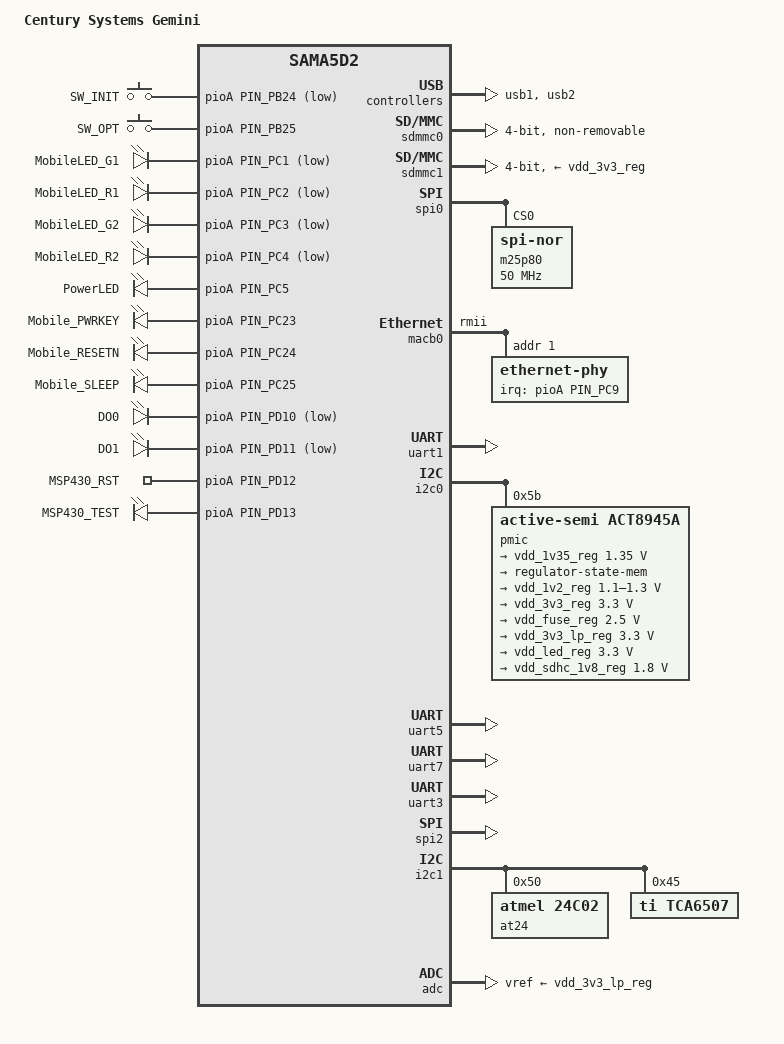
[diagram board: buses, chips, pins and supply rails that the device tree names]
// SPDX-License-Identifier: (GPL-2.0+ OR MIT)
/*
 * at91-centurysys-gemini.dts - Device Tree file for Century Systems Gemini board
 *
 *  Copyright (C) 2015 Atmel,
 *                2015 Nicolas Ferre <nicolas.ferre@atmel.com>
 */
/dts-v1/;
#include "sama5d2.dtsi"
#include "sama5d2-pinfunc.h"
#include <dt-bindings/mfd/atmel-flexcom.h>
#include <dt-bindings/gpio/gpio.h>
#include <dt-bindings/regulator/active-semi,8945a-regulator.h>

/ {
	model = "Century Systems Gemini";
	compatible = "atmel,sama5d2-gemini", "atmel,sama5d2", "atmel,sama5";

	chosen {
		stdout-path = "serial0:115200n8";
	};

	clocks {
		slow_xtal {
			clock-frequency = <32768>;
		};

		main_xtal {
			clock-frequency = <12000000>;
		};
	};

	ahb {
		usb1: ohci@400000 {
			num-ports = <3>;
			atmel,vbus-gpio = <&pioA PIN_PA31 GPIO_ACTIVE_HIGH
					   &pioA PIN_PC15 GPIO_ACTIVE_HIGH
					   0
					  >;
			pinctrl-names = "default";
			pinctrl-0 = <&pinctrl_usb_default>;
			status = "okay";
		};

		usb2: ehci@500000 {
			status = "okay";
		};

		sdmmc0: sdio-host@a0000000 {
			bus-width = <4>;
			pinctrl-names = "default";
			pinctrl-0 = <&pinctrl_sdmmc0_default>;
			non-removable;
			no-sd;
			no-1-8-v;
			status = "okay";
		};

		sdmmc1: sdio-host@b0000000 {
			bus-width = <4>;
			pinctrl-names = "default";
			pinctrl-0 = <&pinctrl_sdmmc1_default>;
			status = "okay"; /* conflict with qspi0 */
			vqmmc-supply = <&vdd_3v3_reg>;
			vmmc-supply = <&vdd_3v3_reg>;
		};

		apb {
			spi0: spi@f8000000 {
				pinctrl-names = "default";
				pinctrl-0 = <&pinctrl_spi0_default>;
				status = "okay";

				m25p80@0 {
					compatible = "jedec,spi-nor";
					reg = <0>;
					spi-max-frequency = <50000000>;
				};
			};

			macb0: ethernet@f8008000 {
				pinctrl-names = "default";
				pinctrl-0 = <&pinctrl_macb0_default &pinctrl_macb0_phy_irq>;
				phy-mode = "rmii";
				status = "okay";

				ethernet-phy@1 {
					reg = <0x1>;
					interrupt-parent = <&pioA>;
					interrupts = <PIN_PC9 IRQ_TYPE_LEVEL_LOW>;
				};
			};

			tcb0: timer@f800c000 {
				timer0: timer@0 {
					compatible = "atmel,tcb-timer";
					reg = <0>;
				};

				timer1: timer@1 {
					compatible = "atmel,tcb-timer";
					reg = <1>;
				};
			};

			/* Debug console */
			uart1: serial@f8020000 {
				pinctrl-names = "default";
				pinctrl-0 = <&pinctrl_uart1_default>;
				atmel,use-dma-rx;
				atmel,use-dma-tx;
				status = "okay";
			};

			i2c0: i2c@f8028000 {
				dmas = <0>, <0>;
				pinctrl-names = "default";
				pinctrl-0 = <&pinctrl_i2c0_default>;
				i2c-sda-hold-time-ns = <350>;
				status = "okay";

				pmic@5b {
					compatible = "active-semi,act8945a";
					reg = <0x5b>;
					active-semi,vsel-high;
					status = "okay";

					regulators {
						vdd_1v35_reg: REG_DCDC1 {
							regulator-name = "VDD_1V35";
							regulator-min-microvolt = <1350000>;
							regulator-max-microvolt = <1350000>;
							regulator-allowed-modes = <ACT8945A_REGULATOR_MODE_FIXED>,
										  <ACT8945A_REGULATOR_MODE_LOWPOWER>;
							regulator-initial-mode = <ACT8945A_REGULATOR_MODE_FIXED>;
							regulator-always-on;

							regulator-state-mem {
								regulator-on-in-suspend;
								regulator-suspend-min-microvolt=<1400000>;
								regulator-suspend-max-microvolt=<1400000>;
								regulator-changeable-in-suspend;
								regulator-mode=<ACT8945A_REGULATOR_MODE_LOWPOWER>;
							};
						};

						vdd_1v2_reg: REG_DCDC2 {
							regulator-name = "VDD_1V2";
							regulator-min-microvolt = <1100000>;
							regulator-max-microvolt = <1300000>;
							regulator-allowed-modes = <ACT8945A_REGULATOR_MODE_FIXED>,
										  <ACT8945A_REGULATOR_MODE_LOWPOWER>;
							regulator-initial-mode = <ACT8945A_REGULATOR_MODE_FIXED>;
							regulator-always-on;

							regulator-state-mem {
								regulator-off-in-suspend;
							};
						};

						vdd_3v3_reg: REG_DCDC3 {
							regulator-name = "VDD_3V3";
							regulator-min-microvolt = <3300000>;
							regulator-max-microvolt = <3300000>;
							regulator-allowed-modes = <ACT8945A_REGULATOR_MODE_FIXED>,
										  <ACT8945A_REGULATOR_MODE_LOWPOWER>;
							regulator-initial-mode = <ACT8945A_REGULATOR_MODE_FIXED>;
							regulator-always-on;

							regulator-state-mem {
								regulator-off-in-suspend;
							};
						};

						vdd_fuse_reg: REG_LDO1 {
							regulator-name = "VDD_FUSE";
							regulator-min-microvolt = <2500000>;
							regulator-max-microvolt = <2500000>;
							regulator-allowed-modes = <ACT8945A_REGULATOR_MODE_NORMAL>,
										  <ACT8945A_REGULATOR_MODE_LOWPOWER>;
							regulator-initial-mode = <ACT8945A_REGULATOR_MODE_NORMAL>;
							regulator-always-on;

							regulator-state-mem {
								regulator-off-in-suspend;
							};
						};

						vdd_3v3_lp_reg: REG_LDO2 {
							regulator-name = "VDD_3V3_LP";
							regulator-min-microvolt = <3300000>;
							regulator-max-microvolt = <3300000>;
							regulator-allowed-modes = <ACT8945A_REGULATOR_MODE_NORMAL>,
										  <ACT8945A_REGULATOR_MODE_LOWPOWER>;
							regulator-initial-mode = <ACT8945A_REGULATOR_MODE_NORMAL>;
							regulator-always-on;

							regulator-state-mem {
								regulator-off-in-suspend;
							};
						};

						vdd_led_reg: REG_LDO3 {
							regulator-name = "VDD_LED";
							regulator-min-microvolt = <3300000>;
							regulator-max-microvolt = <3300000>;
							regulator-allowed-modes = <ACT8945A_REGULATOR_MODE_NORMAL>,
										  <ACT8945A_REGULATOR_MODE_LOWPOWER>;
							regulator-initial-mode = <ACT8945A_REGULATOR_MODE_NORMAL>;
							regulator-always-on;

							regulator-state-mem {
								regulator-off-in-suspend;
							};
						};

						vdd_sdhc_1v8_reg: REG_LDO4 {
							regulator-name = "VDD_SDHC_1V8";
							regulator-min-microvolt = <1800000>;
							regulator-max-microvolt = <1800000>;
							regulator-allowed-modes = <ACT8945A_REGULATOR_MODE_NORMAL>,
										  <ACT8945A_REGULATOR_MODE_LOWPOWER>;
							regulator-initial-mode = <ACT8945A_REGULATOR_MODE_NORMAL>;
							regulator-always-on;

							regulator-state-mem {
								regulator-off-in-suspend;
							};
						};
					};

					charger {
						compatible = "active-semi,act8945a-charger";
						pinctrl-names = "default";
						pinctrl-0 = <&pinctrl_charger_chglev &pinctrl_charger_lbo &pinctrl_charger_irq>;
						interrupt-parent = <&pioA>;
						interrupts = <PIN_PB13 IRQ_TYPE_EDGE_RISING>;

						active-semi,chglev-gpios = <&pioA PIN_PA12 GPIO_ACTIVE_HIGH>;
						active-semi,lbo-gpios = <&pioA PIN_PC8 GPIO_ACTIVE_LOW>;
						active-semi,input-voltage-threshold-microvolt = <6600>;
						active-semi,precondition-timeout = <40>;
						active-semi,total-timeout = <3>;
						status = "okay";
					};
				};
			};

			/* DB9 RS-232C */
			flx0: flexcom@f8034000 {
				atmel,flexcom-mode = <ATMEL_FLEXCOM_MODE_USART>;
				status = "okay";

				uart5: serial@200 {
					compatible = "atmel,at91sam9260-usart";
					reg = <0x200 0x200>;
					interrupts = <19 IRQ_TYPE_LEVEL_HIGH 7>;
					clocks = <&pmc PMC_TYPE_PERIPHERAL 19>;
					clock-names = "usart";
					pinctrl-names = "default";
					pinctrl-0 = <&pinctrl_flx0_default>;
					atmel,fifo-size = <32>;
					dtr-gpios = <&pioA PIN_PC10 GPIO_ACTIVE_LOW>;
					dsr-gpios = <&pioA PIN_PC11 GPIO_ACTIVE_LOW>;
					dcd-gpios = <&pioA PIN_PC12 GPIO_ACTIVE_LOW>;
					rng-gpios = <&pioA PIN_PC13 GPIO_ACTIVE_LOW>;
					status = "okay";
				};
			};

			flx2: flexcom@fc010000 {
				atmel,flexcom-mode = <ATMEL_FLEXCOM_MODE_USART>;
				status = "okay";

				uart7: serial@200 {
					compatible = "atmel,at91sam9260-usart";
					reg = <0x200 0x200>;
					interrupts = <21 IRQ_TYPE_LEVEL_HIGH 7>;
					clocks = <&pmc PMC_TYPE_PERIPHERAL 21>;
					clock-names = "usart";
					pinctrl-names = "default";
					pinctrl-0 = <&pinctrl_flx2_default>;
					atmel,fifo-size = <32>;
					linux,rs485-enabled-at-boot-time;
					dtr-gpios = <&pioA PIN_PD29 GPIO_ACTIVE_LOW>;
					status = "okay";
				};
			};

			shdwc@f8048010 {
				debounce-delay-us = <976>;
				atmel,wakeup-rtc-timer;

				opt_switch@4 {
					reg = <6>;
					atmel,wakeup-type = "low";
				};
			};

			watchdog@f8048040 {
				status = "okay";
			};

			/* MSP430 */
			uart3: serial@fc008000 {
				atmel,use-dma-rx;
				atmel,use-dma-tx;
				pinctrl-names = "default";
				pinctrl-0 = <&pinctrl_uart3_default>;
				status = "okay";
			};

			/* XIO SPI */
			flx4: flexcom@fc018000 {
				atmel,flexcom-mode = <ATMEL_FLEXCOM_MODE_SPI>;

				spi2: spi@600 {
					compatible = "atmel,at91rm9200-spi";
					reg = <0x400 0x200>;
					interrupts = <23 IRQ_TYPE_LEVEL_HIGH 7>;
					dmas = <&dma0
						(AT91_XDMAC_DT_MEM_IF(0) | AT91_XDMAC_DT_PER_IF(1) |
						 AT91_XDMAC_DT_PERID(19))>,
				               <&dma0
						(AT91_XDMAC_DT_MEM_IF(0) | AT91_XDMAC_DT_PER_IF(1) |
						 AT91_XDMAC_DT_PERID(20))>;
					dma-names = "tx", "rx";
					pinctrl-names = "default";
					pinctrl-0 = <&pinctrl_flx4_default>;
					#address-cells = <1>;
					#size-cells = <0>;
					clocks = <&pmc PMC_TYPE_PERIPHERAL 23>;
					clock-names = "spi_clk";
					atmel,fifo-size = <32>;
				};
			};

			i2c1: i2c@fc028000 {
				dmas = <0>, <0>;
				pinctrl-names = "default";
				pinctrl-0 = <&pinctrl_i2c1_default>;
				status = "okay";

				at24@50 {
					compatible = "atmel,24c02";
					reg = <0x50>;
					pagesize = <16>;
				};

				tca6507@45 {
					compatible = "ti,tca6507";
					#address-cells = <1>;
					#size-cells = <0>;
					reg = <0x45>;

					led0: power-status-red@0 {
						label = "power-stat:r";
						reg = <0x0>;
					};

					led1: system-status1-red@1 {
						label = "system-status1:r";
						reg = <0x1>;
						linux,default-trigger = "heartbeat";
					};

					led2: system-status2-red@2 {
						label = "system-status2:r";
						reg = <0x2>;
					};

					led3: system-status3-red@3 {
						label = "system-status3:r";
						reg = <0x3>;
					};

					led4: system-status1-green@4 {
						label = "system-status1:g";
						reg = <0x4>;
						linux,default-trigger = "timer-suspend";
					};

					led5: system-status2-green@5 {
						label = "system-status2:g";
						reg = <0x5>;
					};

					led6: system-status3-green@6 {
						label = "system-status3:g";
						reg = <0x6>;
					};
				};
			};

			adc: adc@fc030000 {
				vddana-supply = <&vdd_3v3_lp_reg>;
				vref-supply = <&vdd_3v3_lp_reg>;
				pinctrl-names = "default";
				pinctrl-0 = <&pinctrl_adc_default &pinctrl_adtrg_default>;
				status = "okay";
			};

			pinctrl@fc038000 {
				/*
				 * There is no real pinmux for ADC, if the pin
				 * is not requested by another peripheral then
				 * the muxing is done when channel is enabled.
				 * Requesting pins for ADC is GPIO is
				 * encouraged to prevent conflicts and to
				 * disable bias in order to be in the same
				 * state when the pin is not muxed to the adc.
				 */
				pinctrl_adc_default: adc_default {
					pinmux = <PIN_PD19__GPIO>;
					bias-disable;
				};

				/*
				 * The ADTRG pin can work on any edge type.
				 * In here it's being pulled up, so need to
				 * connect it to ground to get an edge e.g.
				 * Trigger can be configured on falling, rise
				 * or any edge, and the pull-up can be changed
				 * to pull-down or left floating according to
				 * needs.
				 */
				pinctrl_adtrg_default: adtrg_default {
					pinmux = <PIN_PD31__ADTRG>;
					bias-pull-up;
				};

				pinctrl_charger_chglev: charger_chglev {
					pinmux = <PIN_PA12__GPIO>;
					bias-disable;
				};

				pinctrl_charger_irq: charger_irq {
					pinmux = <PIN_PB13__GPIO>;
					bias-disable;
				};

				pinctrl_charger_lbo: charger_lbo {
					pinmux = <PIN_PC8__GPIO>;
					bias-pull-up;
				};

				pinctrl_flx0_default: flx0_default {
					pinmux = <PIN_PB28__FLEXCOM0_IO0>,
						 <PIN_PB29__FLEXCOM0_IO1>,
						 <PIN_PB31__FLEXCOM0_IO3>,
						 <PIN_PC0__FLEXCOM0_IO4>,
						 <PIN_PC10__GPIO>,
						 <PIN_PC11__GPIO>,
						 <PIN_PC12__GPIO>,
						 <PIN_PC13__GPIO>;
					bias-disable;
				};

				pinctrl_flx2_default: flx2_default {
					pinmux = <PIN_PD26__FLEXCOM2_IO0>,
						 <PIN_PD27__FLEXCOM2_IO1>,
						 <PIN_PD29__GPIO>,
						 <PIN_PD30__FLEXCOM2_IO4>;
					bias-disable;
				};

				pinctrl_flx3_default: flx3_default {
					pinmux = <PIN_PC20__FLEXCOM3_IO0>,
						 <PIN_PC19__FLEXCOM3_IO1>,
						 <PIN_PC18__FLEXCOM3_IO2>,
						 <PIN_PC21__FLEXCOM3_IO3>,
						 <PIN_PC22__FLEXCOM3_IO4>;
					bias-disable;
				};

				pinctrl_flx4_default: flx4_default {
					pinmux = <PIN_PC28__FLEXCOM4_IO0>,
						 <PIN_PC29__FLEXCOM4_IO1>,
						 <PIN_PC30__FLEXCOM4_IO2>,
						 <PIN_PC31__FLEXCOM4_IO3>,
						 <PIN_PD0__FLEXCOM4_IO4>;
					bias-disable;
				};

				pinctrl_i2c0_default: i2c0_default {
					pinmux = <PIN_PD21__TWD0>,
						 <PIN_PD22__TWCK0>;
					bias-disable;
				};

				pinctrl_i2c1_default: i2c1_default {
					pinmux = <PIN_PD4__TWD1>,
						 <PIN_PD5__TWCK1>;
					bias-disable;
				};

				pinctrl_key_gpio_default: key_gpio_default {
					pinmux = <PIN_PB24__GPIO>,
					         <PIN_PB25__GPIO>;
				};

				pinctrl_led_gpio_default: led_gpio_default {
					pinmux = <PIN_PC1__GPIO>,
						 <PIN_PC2__GPIO>,
						 <PIN_PC3__GPIO>,
						 <PIN_PC4__GPIO>,
						 <PIN_PC5__GPIO>,
						 <PIN_PC23__GPIO>,
						 <PIN_PC24__GPIO>,
						 <PIN_PC25__GPIO>;
					bias-pull-up;
				};

				pinctrl_macb0_default: macb0_default {
					pinmux = <PIN_PB14__GTXCK>,
						 <PIN_PB15__GTXEN>,
						 <PIN_PB16__GRXDV>,
						 <PIN_PB17__GRXER>,
						 <PIN_PB18__GRX0>,
						 <PIN_PB19__GRX1>,
						 <PIN_PB20__GTX0>,
						 <PIN_PB21__GTX1>,
						 <PIN_PB22__GMDC>,
						 <PIN_PB23__GMDIO>;
					bias-disable;
				};

				pinctrl_macb0_phy_irq: macb0_phy_irq {
					pinmux = <PIN_PC9__GPIO>;
					bias-disable;
				};

				pinctrl_sdmmc0_default: sdmmc0_default {
					cmd_data {
						pinmux = <PIN_PA1__SDMMC0_CMD>,
							 <PIN_PA2__SDMMC0_DAT0>,
							 <PIN_PA3__SDMMC0_DAT1>,
							 <PIN_PA4__SDMMC0_DAT2>,
							 <PIN_PA5__SDMMC0_DAT3>;
						bias-disable;
					};

					ck_cd_rstn_vddsel {
						pinmux = <PIN_PA0__SDMMC0_CK>,
							 <PIN_PA10__SDMMC0_RSTN>,
							 <PIN_PA13__SDMMC0_CD>;
						bias-disable;
					};
				};

				pinctrl_sdmmc1_default: sdmmc1_default {
					cmd_data {
						pinmux = <PIN_PA28__SDMMC1_CMD>,
							 <PIN_PA18__SDMMC1_DAT0>,
							 <PIN_PA19__SDMMC1_DAT1>,
							 <PIN_PA20__SDMMC1_DAT2>,
							 <PIN_PA21__SDMMC1_DAT3>;
						bias-disable;
					};

					conf-ck_cd {
						pinmux = <PIN_PA22__SDMMC1_CK>,
							 <PIN_PA30__SDMMC1_CD>;
						bias-disable;
					};
				};

				pinctrl_spi0_default: spi0_default {
					pinmux = <PIN_PA14__SPI0_SPCK>,
						 <PIN_PA15__SPI0_MOSI>,
						 <PIN_PA16__SPI0_MISO>,
						 <PIN_PA17__SPI0_NPCS0>;
					bias-disable;
				};

				pinctrl_uart1_default: uart1_default {
					pinmux = <PIN_PD2__URXD1>,
						 <PIN_PD3__UTXD1>;
					bias-disable;
				};

				pinctrl_uart3_default: uart3_default {
					pinmux = <PIN_PB11__URXD3>,
						 <PIN_PB12__UTXD3>;
					bias-disable;
				};

				pinctrl_usb_default: usb_default {
					pinmux = <PIN_PA31__GPIO>,
						 <PIN_PC15__GPIO>;
					bias-disable;
				};

				gpio {
					#address-cells = <1>;
					#size-cells = <0>;

					gpio@pb1 {
						label = "DIPSW0";
						reg = <33>;
					};

					gpio@pb2 {
					label = "DIPSW1";
						reg = <34>;
					};

					gpio@pb3 {
						label = "DIPSW2";
						reg = <35>;
					};

					gpio@pb4 {
						label = "DIPSW3";
						reg = <36>;
					};

					gpio@pc26 {
						label = "Mobile_READY_N";
						reg = <90>;
					};

					gpio@pc27 {
						label = "Mobile_WAKEUP_N";
						reg = <91>;
					};

					gpio@pd6 {
						label = "DI0";
						reg = <102>;
					};

					gpio@pd7 {
						label = "DI1";
						reg = <103>;
					};

					gpio@pd8 {
						label = "DI2";
						reg = <104>;
					};

					gpio@pd9 {
						label = "DI3";
						reg = <105>;
					};
				};
			};

			secumod@fc040000 {
				#address-cells = <1>;
				#size-cells = <0>;

				pio@bu0 {
					label = "BU_DI0";
					reg = <0>;
				};

				pio@bu1 {
					label = "BU_DI1";
					reg = <1>;
				};

				pio@bu2 {
					label = "BU_DI2";
					reg = <2>;
				};

				pio@bu3 {
					label = "BU_DI3";
					reg = <3>;
				};

				pio@bu5 {
					label = "BU_MSP430_IRQ";
					reg = <5>;
				};

				pio@bu6 {
					label = "BU_EXT_RTC_ALARM";
					reg = <6>;
				};

				pio@bu7 {
					label = "BU_XIO_WAKEUP";
					reg = <7>;
				};
			};
		};
	};

	gpio_keys {
		compatible = "gpio-keys";

		pinctrl-names = "default";
		pinctrl-0 = <&pinctrl_key_gpio_default>;

		sw_init {
			label = "SW_INIT";
			gpios = <&pioA PIN_PB24 GPIO_ACTIVE_LOW>;
			linux,code = <0x100>; /* BTN_0 */
			wakeup-source;
		};

		sw_opt {
			label = "SW_OPT";
			gpios = <&pioA PIN_PB25 GPIO_ACTIVE_HIGH>;
			linux,code = <0x101>; /* BTN_1 */
			wakeup-source;
		};
	};

	leds: leds {
		compatible = "gpio-leds";
		pinctrl-names = "default";
		pinctrl-0 = <&pinctrl_led_gpio_default>;
		status = "okay";

		led_g1 {
			label = "MobileLED_G1";
			gpios = <&pioA PIN_PC1 GPIO_ACTIVE_LOW>;
		};

		led_r1 {
			label = "MobileLED_R1";
			gpios = <&pioA PIN_PC2 GPIO_ACTIVE_LOW>;
		};

		led_g2 {
			label = "MobileLED_G2";
			gpios = <&pioA PIN_PC3 GPIO_ACTIVE_LOW>;
		};

		led_r2 {
			label = "MobileLED_R2";
			gpios = <&pioA PIN_PC4 GPIO_ACTIVE_LOW>;
		};

		power_led {
			label = "PowerLED";
			gpios = <&pioA PIN_PC5 GPIO_ACTIVE_HIGH>;
			default-state = "on";
		};

		mobile_powerkey {
			label = "Mobile_PWRKEY";
			gpios = <&pioA PIN_PC23 GPIO_ACTIVE_HIGH>;
			linux,default-trigger = "oneshot";
			led-pattern = <2100 100>;
		};

		mobile_resetn {
			label = "Mobile_RESETN";
			gpios = <&pioA PIN_PC24 GPIO_ACTIVE_HIGH>;
			linux,default-trigger = "oneshot";
			led-pattern = <2600 100>;
		};

		mobile_sleep {
			label = "Mobile_SLEEP";
			gpios = <&pioA PIN_PC25 GPIO_ACTIVE_HIGH>;
		};

		do_0 {
			label = "DO0";
			gpios = <&pioA PIN_PD10 GPIO_ACTIVE_LOW>;
		};

		do_1 {
			label = "DO1";
			gpios = <&pioA PIN_PD11 GPIO_ACTIVE_LOW>;
		};

		msp430_reset {
			label = "MSP430_RST";
			gpios = <&pioA PIN_PD12 GPIO_ACTIVE_HIGH>;
		};

		msp430_test {
			label = "MSP430_TEST";
			gpios = <&pioA PIN_PD13 GPIO_ACTIVE_HIGH>;
		};
	};
};
